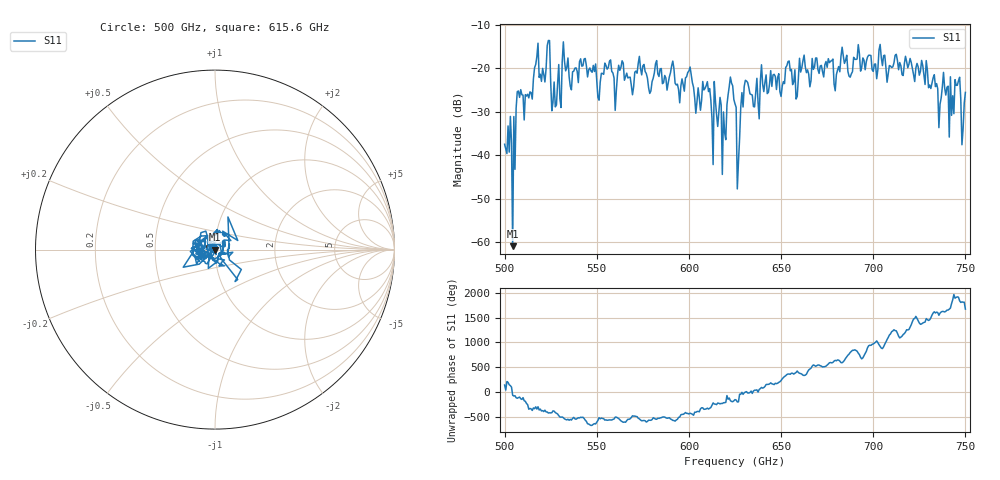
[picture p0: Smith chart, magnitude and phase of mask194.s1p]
!Created with skrf (http://scikit-rf.org).
# GHz S MA R 50.0
!freq magS11 angS11
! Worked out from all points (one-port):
!   401 points, 500 GHz to 750 GHz, reference 50 ohm
!   lowest |S11| = -60.9 dB at 504.4 GHz (marker M1), VSWR 1.00, Z = 50 - j0.0788 ohm
!   |S11| at or under -10 dB: start of sweep to end of sweep
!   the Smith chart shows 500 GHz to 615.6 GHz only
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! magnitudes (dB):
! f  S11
! 500 GHz  -37.5
! 504.4 GHz  -60.9
! 507.5 GHz  -25.2
! 513.8 GHz  -25.4
! 516.9 GHz  -19.1
! 520.6 GHz  -20.0
! 523.8 GHz  -13.6
! 526.9 GHz  -23.1
! 531.2 GHz  -18.5
! 560 GHz  -29.7
! 562.5 GHz  -20.4
! 578.8 GHz  -25.8
! 590.6 GHz  -19.4
! 593.8 GHz  -23.6
! 610 GHz  -23.0
! 619.4 GHz  -34.8
! 622.5 GHz  -22.0
! 625 GHz  -28.1
! 626.9 GHz  -41.6
! 631.2 GHz  -22.9
! 636.9 GHz  -22.3
! 656.2 GHz  -23.7
! 680 GHz  -21.4
! 684.4 GHz  -18.8
! 687.5 GHz  -22.0
! 691.2 GHz  -17.8
! 718.8 GHz  -19.8
! 750 GHz  -25.5
